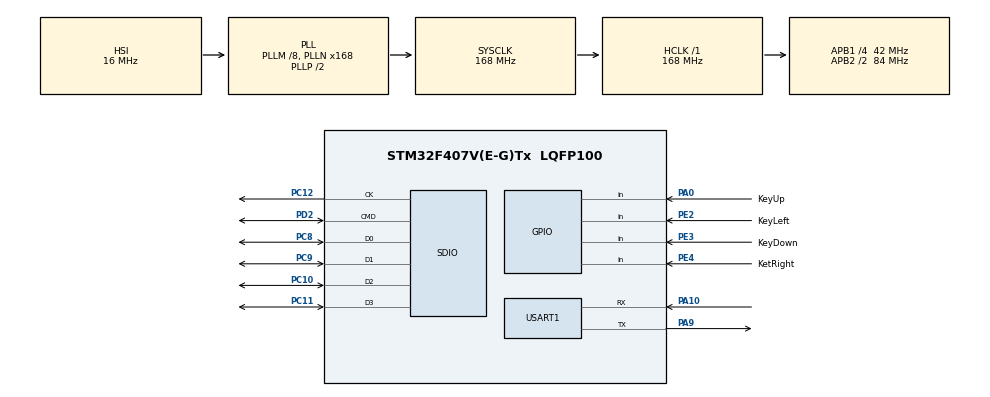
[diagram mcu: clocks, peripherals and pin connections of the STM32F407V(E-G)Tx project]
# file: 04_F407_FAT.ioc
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FATFS._CODE_PAGE=936
FATFS._USE_LFN=3
Mcu.Family=STM32F4
Mcu.Name=STM32F407V(E-G)Tx
Mcu.Package=LQFP100
NVIC.PriorityGroup=NVIC_PRIORITYGROUP_4
PA0-WKUP.GPIO_Label=KeyUp
PA0-WKUP.GPIO_PuPd=GPIO_PULLDOWN
PA0-WKUP.Signal=GPIO_Input
PA10.Mode=Asynchronous
PA10.Signal=USART1_RX
PA13.Mode=Serial_Wire
PA13.Signal=SYS_JTMS-SWDIO
PA14.Mode=Serial_Wire
PA14.Signal=SYS_JTCK-SWCLK
PA9.Mode=Asynchronous
PA9.Signal=USART1_TX
PC10.Mode=SD_4_bits_Wide_bus
PC10.Signal=SDIO_D2
PC11.Mode=SD_4_bits_Wide_bus
PC11.Signal=SDIO_D3
PC12.Mode=SD_4_bits_Wide_bus
PC12.Signal=SDIO_CK
PC14-OSC32_IN.Mode=LSE-External-Oscillator
PC14-OSC32_IN.Signal=RCC_OSC32_IN
PC15-OSC32_OUT.Mode=LSE-External-Oscillator
PC15-OSC32_OUT.Signal=RCC_OSC32_OUT
PC8.Mode=SD_4_bits_Wide_bus
PC8.Signal=SDIO_D0
PC9.Mode=SD_4_bits_Wide_bus
PC9.Signal=SDIO_D1
PD2.Mode=SD_4_bits_Wide_bus
PD2.Signal=SDIO_CMD
PE2.GPIO_Label=KeyLeft
PE2.GPIO_PuPd=GPIO_PULLUP
PE2.Signal=GPIO_Input
PE3.GPIO_Label=KeyDown
PE3.GPIO_PuPd=GPIO_PULLUP
PE3.Signal=GPIO_Input
PE4.GPIO_Label=KetRight
PE4.GPIO_PuPd=GPIO_PULLUP
PE4.Signal=GPIO_Input
PH0-OSC_IN.Mode=HSE-External-Oscillator
PH0-OSC_IN.Signal=RCC_OSC_IN
PH1-OSC_OUT.Mode=HSE-External-Oscillator
PH1-OSC_OUT.Signal=RCC_OSC_OUT
ProjectManager.HeapSize=0x200
ProjectManager.StackSize=0x400
ProjectManager.TargetToolchain=MDK-ARM V5.32
RCC.48MHZClocksFreq_Value=48000000
RCC.AHBFreq_Value=168000000
RCC.APB1CLKDivider=RCC_HCLK_DIV4
RCC.APB1Freq_Value=42000000
RCC.APB1TimFreq_Value=84000000
RCC.APB2CLKDivider=RCC_HCLK_DIV2
RCC.APB2Freq_Value=84000000
RCC.APB2TimFreq_Value=168000000
RCC.CortexFreq_Value=168000000
RCC.HCLKFreq_Value=168000000
RCC.HSE_VALUE=25000000
RCC.HSI_VALUE=16000000
RCC.PLLM=8
RCC.PLLN=168
RCC.PLLQ=7
RCC.RCC_RTC_Clock_Source=RCC_RTCCLKSOURCE_LSE
RCC.RCC_RTC_Clock_SourceVirtual=RCC_RTCCLKSOURCE_LSE
RCC.SYSCLKFreq_VALUE=168000000
RCC.SYSCLKSource=RCC_SYSCLKSOURCE_PLLCLK
RCC.VCOOutputFreq_Value=336000000
RTC.Format=RTC_FORMAT_BIN
RTC.Hours=15
SDIO.ClockDiv=4
USART1.VirtualMode=VM_ASYNC
VP_FATFS_VS_SDIO.Mode=SDIO
VP_RTC_VS_RTC_Activate.Mode=RTC_Enabled
VP_RTC_VS_RTC_Calendar.Mode=RTC_Calendar
board=custom

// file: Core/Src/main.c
/* USER CODE BEGIN Header */
/**
  ******************************************************************************
  * @file           : main.c
  * @brief          : Main program body
  ******************************************************************************
  * @attention
  *
  * Copyright (c) 2025 STMicroelectronics.
  * All rights reserved.
  *
  * This software is licensed under terms that can be found in the LICENSE file
  * in the root directory of this software component.
  * If no LICENSE file comes with this software, it is provided AS-IS.
  *
  ******************************************************************************
  */
/* USER CODE END Header */
#include "main.h"
#include "fatfs.h"

/* USER CODE BEGIN Includes */
#include <stdio.h>
#include "keyled.h"
#include "sd_card.h"
#include "file_opera.h"

/* USER CODE END Includes */

/* USER CODE BEGIN PD */

 #ifdef __GNUC__
     #define PUTCHAR_PROTOTYPE int _io_putchar(int ch)
 #else
     #define PUTCHAR_PROTOTYPE int fputc(int ch, FILE *f)
 #endif /* __GNUC__*/

/* USER CODE END PD */

RTC_HandleTypeDef hrtc;

SD_HandleTypeDef hsd;

UART_HandleTypeDef huart1;

void SystemClock_Config(void);
static void MX_GPIO_Init(void);
static void MX_SDIO_SD_Init(void);
static void MX_USART1_UART_Init(void);
static void MX_RTC_Init(void);

/* USER CODE BEGIN 0 */
 /******************************************************************
     *@brief  Retargets the C library printf  function to the USART.
     *@param  None
     *@retval None
 ******************************************************************/
 PUTCHAR_PROTOTYPE
 {
     HAL_UART_Transmit(&huart1, (uint8_t *)&ch,1,0xFFFF);
     return ch;
 }
/* USER CODE END 0 */

int main(void)
{

  /* MCU Configuration--------------------------------------------------------*/

  /* Reset of all peripherals, Initializes the Flash interface and the Systick. */
  HAL_Init();

  /* Configure the system clock */
  SystemClock_Config();

  /* Initialize all configured peripherals */
  MX_GPIO_Init();
  MX_SDIO_SD_Init();
  MX_USART1_UART_Init();
  MX_RTC_Init();
  MX_FATFS_Init();
  /* USER CODE BEGIN 2 */
  printf("------04Demo: F407_SD_FAT-----\r\n");
  FRESULT res = f_mount(&SDFatFS, "0:", 1);

  if (res == FR_OK)
  {
      printf("FatFS mount OK\r\n");
  }
  else
  {
      printf("No file system\r\n");
  }

  printf("[1] KeyUp = Format SD card\r\n");
  printf("[2] KeyLeft = FAT disk info\r\n");
  printf("[3] KeyRight = SD card info\r\n");
  printf("[4] KeyDown = Next menu page\r\n");

KEYS waitKey;
  /* USER CODE END 2 */

  /* Infinite loop */
  /* USER CODE BEGIN WHILE */
while (1)
{
    waitKey = ScanPressedKey(KEY_WAIT_ALWAYS);
    if (waitKey == KEY_UP)
    {
        BYTE workBuffer[4 * BLOCKSIZE];
        DWORD cluster_size = 0;
        printf("Formatting the chip...\r\n");
        FRESULT res = f_mkfs("0:", FM_FAT32, cluster_size, workBuffer,
                4 * BLOCKSIZE);
        if (res == FR_OK)
        {
            printf("Format OK, to reset\r\n");
        }
        else
        {
            printf("Format Fail, to reset\r\n");
        }
    }
    else if (waitKey == KEY_LEFT)
    {
        fatTest_GetDiskInfo();
    }
    else if (waitKey == KEY_RIGHT)
    {
        SDCard_ShowInfo();
    }
    else if (waitKey == KEY_DOWN)
    {
        break;
    }
    printf("Reselect menu item or reset\r\n");
    HAL_Delay(500);
}
printf("[5] KeyUp = Write files\r\n");
printf("[6] KeyLeft = Read a TXT file\r\n");
printf("[7] KeyRight = Read a BIN file\r\n");
printf("[8] KeyDown = Get a file info\r\n");
HAL_Delay(500);
while (1)
{
    waitKey = ScanPressedKey(KEY_WAIT_ALWAYS);
    if (waitKey == KEY_UP)
    {
        fatTest_WriteTXTFile("readme.txt", 2019, 3, 5);
        printf("Write file OK: readme.txt\r\n");
        fatTest_WriteTXTFile("help.txt", 2016, 11, 15);
        printf("Write file OK: help.txt\r\n");
        fatTest_WriteBinFile("ADC500.dat", 20, 500);
        printf("Write file OK: ADC500.dat\r\n");
        fatTest_WriteBinFile("ADC1000.dat", 50, 1000);
        printf("Write file OK: ADC1000.dat\r\n");
        f_mkdir("0:/SubDir1");
        f_mkdir("0:/MyDocs");
    }
    else if (waitKey == KEY_LEFT)
    {
        fatTest_ReadTXTFile("readme.txt");
    }
    else if (waitKey == KEY_RIGHT)
    {
        fatTest_ReadBinFile("ADC500.dat");
    }
    else if (waitKey == KEY_DOWN)
    {
        fatTest_GetFileInfo("ADC1000.dat");
    }
    printf("Reselect menu item or reset\r\n");
    HAL_Delay(500);
}

  /* Infinite loop */
  /* USER CODE BEGIN WHILE */
  while (1)
  {
    /* USER CODE END WHILE */

  }
}

void SystemClock_Config(void)
{
  RCC_OscInitTypeDef RCC_OscInitStruct = {0};
  RCC_ClkInitTypeDef RCC_ClkInitStruct = {0};

  /** Configure the main internal regulator output voltage
  */
  __HAL_RCC_PWR_CLK_ENABLE();
  __HAL_PWR_VOLTAGESCALING_CONFIG(PWR_REGULATOR_VOLTAGE_SCALE1);

  /** Initializes the RCC Oscillators according to the specified parameters
  * in the RCC_OscInitTypeDef structure.
  */
  RCC_OscInitStruct.OscillatorType = RCC_OSCILLATORTYPE_HSI|RCC_OSCILLATORTYPE_LSE;
  RCC_OscInitStruct.LSEState = RCC_LSE_ON;
  RCC_OscInitStruct.HSIState = RCC_HSI_ON;
  RCC_OscInitStruct.HSICalibrationValue = RCC_HSICALIBRATION_DEFAULT;
  RCC_OscInitStruct.PLL.PLLState = RCC_PLL_ON;
  RCC_OscInitStruct.PLL.PLLSource = RCC_PLLSOURCE_HSI;
  RCC_OscInitStruct.PLL.PLLM = 8;
  RCC_OscInitStruct.PLL.PLLN = 168;
  RCC_OscInitStruct.PLL.PLLP = RCC_PLLP_DIV2;
  RCC_OscInitStruct.PLL.PLLQ = 7;
  if (HAL_RCC_OscConfig(&RCC_OscInitStruct) != HAL_OK)
  {
    Error_Handler();
  }

  /** Initializes the CPU, AHB and APB buses clocks
  */
  RCC_ClkInitStruct.ClockType = RCC_CLOCKTYPE_HCLK|RCC_CLOCKTYPE_SYSCLK
                              |RCC_CLOCKTYPE_PCLK1|RCC_CLOCKTYPE_PCLK2;
  RCC_ClkInitStruct.SYSCLKSource = RCC_SYSCLKSOURCE_PLLCLK;
  RCC_ClkInitStruct.AHBCLKDivider = RCC_SYSCLK_DIV1;
  RCC_ClkInitStruct.APB1CLKDivider = RCC_HCLK_DIV4;
  RCC_ClkInitStruct.APB2CLKDivider = RCC_HCLK_DIV2;

  if (HAL_RCC_ClockConfig(&RCC_ClkInitStruct, FLASH_LATENCY_5) != HAL_OK)
  {
    Error_Handler();
  }
}

static void MX_RTC_Init(void)
{

  RTC_TimeTypeDef sTime = {0};
  RTC_DateTypeDef sDate = {0};

  /** Initialize RTC Only
  */
  hrtc.Instance = RTC;
  hrtc.Init.HourFormat = RTC_HOURFORMAT_24;
  hrtc.Init.AsynchPrediv = 127;
  hrtc.Init.SynchPrediv = 255;
  hrtc.Init.OutPut = RTC_OUTPUT_DISABLE;
  hrtc.Init.OutPutPolarity = RTC_OUTPUT_POLARITY_HIGH;
  hrtc.Init.OutPutType = RTC_OUTPUT_TYPE_OPENDRAIN;
  if (HAL_RTC_Init(&hrtc) != HAL_OK)
  {
    Error_Handler();
  }

  /** Initialize RTC and set the Time and Date
  */
  sTime.Hours = 15;
  sTime.Minutes = 0;
  sTime.Seconds = 0;
  sTime.DayLightSaving = RTC_DAYLIGHTSAVING_NONE;
  sTime.StoreOperation = RTC_STOREOPERATION_RESET;
  if (HAL_RTC_SetTime(&hrtc, &sTime, RTC_FORMAT_BIN) != HAL_OK)
  {
    Error_Handler();
  }
  sDate.WeekDay = RTC_WEEKDAY_MONDAY;
  sDate.Month = RTC_MONTH_JANUARY;
  sDate.Date = 1;
  sDate.Year = 0;

  if (HAL_RTC_SetDate(&hrtc, &sDate, RTC_FORMAT_BIN) != HAL_OK)
  {
    Error_Handler();
  }

}

static void MX_SDIO_SD_Init(void)
{

  hsd.Instance = SDIO;
  hsd.Init.ClockEdge = SDIO_CLOCK_EDGE_RISING;
  hsd.Init.ClockBypass = SDIO_CLOCK_BYPASS_DISABLE;
  hsd.Init.ClockPowerSave = SDIO_CLOCK_POWER_SAVE_DISABLE;
  hsd.Init.BusWide = SDIO_BUS_WIDE_1B;
  hsd.Init.HardwareFlowControl = SDIO_HARDWARE_FLOW_CONTROL_DISABLE;
  hsd.Init.ClockDiv = 4;

}

static void MX_USART1_UART_Init(void)
{

  huart1.Instance = USART1;
  huart1.Init.BaudRate = 115200;
  huart1.Init.WordLength = UART_WORDLENGTH_8B;
  huart1.Init.StopBits = UART_STOPBITS_1;
  huart1.Init.Parity = UART_PARITY_NONE;
  huart1.Init.Mode = UART_MODE_TX_RX;
  huart1.Init.HwFlowCtl = UART_HWCONTROL_NONE;
  huart1.Init.OverSampling = UART_OVERSAMPLING_16;
  if (HAL_UART_Init(&huart1) != HAL_OK)
  {
    Error_Handler();
  }

}

static void MX_GPIO_Init(void)
{
  GPIO_InitTypeDef GPIO_InitStruct = {0};

  /* GPIO Ports Clock Enable */
  __HAL_RCC_GPIOE_CLK_ENABLE();
  __HAL_RCC_GPIOC_CLK_ENABLE();
  __HAL_RCC_GPIOH_CLK_ENABLE();
  __HAL_RCC_GPIOA_CLK_ENABLE();
  __HAL_RCC_GPIOD_CLK_ENABLE();

  /*Configure GPIO pins : KeyLeft_Pin KeyDown_Pin KetRight_Pin */
  GPIO_InitStruct.Pin = KeyLeft_Pin|KeyDown_Pin|KetRight_Pin;
  GPIO_InitStruct.Mode = GPIO_MODE_INPUT;
  GPIO_InitStruct.Pull = GPIO_PULLUP;
  HAL_GPIO_Init(GPIOE, &GPIO_InitStruct);

  /*Configure GPIO pin : KeyUp_Pin */
  GPIO_InitStruct.Pin = KeyUp_Pin;
  GPIO_InitStruct.Mode = GPIO_MODE_INPUT;
  GPIO_InitStruct.Pull = GPIO_PULLDOWN;
  HAL_GPIO_Init(KeyUp_GPIO_Port, &GPIO_InitStruct);

}

void Error_Handler(void)
{
  __disable_irq();
  while (1)
  {
  }
}
